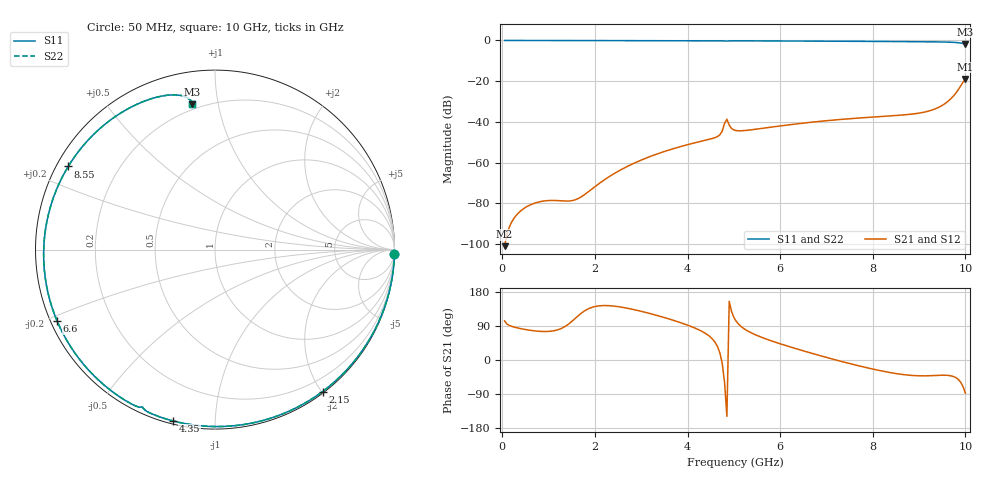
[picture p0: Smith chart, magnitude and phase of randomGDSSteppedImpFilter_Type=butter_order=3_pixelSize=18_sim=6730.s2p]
! freq	dB(S11)	phase(S11)	dB(S12)	phase(S12)
!  dB(S21)	phase(S21)	dB(S22)	phase(S22)
!S-par simulation data
#  GHz  S  DB  R 50
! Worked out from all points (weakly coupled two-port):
!   200 points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, 50 MHz to 10 GHz, reference 50 ohm
!   highest |S21| = -18.87 dB at 10 GHz (marker M1); lowest = -101.0 dB at 50 MHz (marker M2)
!   lowest |S11| = -1.7 dB at 10 GHz (marker M3), VSWR 10.15, Z = 8.45 + j41.9 ohm
!   |S11| at or under -10 dB: nowhere
!   |S22| runs from -1.7 to 0.0 dB; largest |S21 - S12| = 0
!   S11 on the Smith chart (normalised r, x): 50 MHz: 0, -91; 2.15 GHz: 0.02, -2.01; 4.35 GHz: 0.01, -0.78; 6.6 GHz: 0.02, -0.22; 8.55 GHz: 0.03, +0.26; 10 GHz: 0.17, +0.84
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0.05  -0.00 -1.3  -101.03 103.2  -101.03 103.2  -0.00 -1.3
0.75  -0.02 -18.8  -79.53 76.2  -79.53 76.2  -0.02 -18.8
1.45  -0.05 -36.0  -78.84 96.6  -78.84 96.6  -0.05 -36.0
1.75  -0.06 -43.3  -76.12 127.4  -76.12 127.4  -0.06 -43.3
2.15  -0.07 -52.9  -69.30 143.5  -69.30 143.5  -0.07 -52.9
2.7  -0.08 -65.9  -61.86 136.7  -61.86 136.7  -0.08 -65.9
3.4  -0.11 -82.1  -55.30 115.5  -55.30 115.5  -0.11 -82.1
4.35  -0.15 -103.8  -49.19 72.9  -49.19 72.9  -0.15 -103.8
4.7  -0.18 -111.9  -46.30 18.1  -46.30 18.1  -0.18 -111.9
4.75  -0.20 -113.2  -44.50 -9.3  -44.50 -9.3  -0.20 -113.2
4.85  -0.31 -114.7  -38.70 -148.6  -38.70 -148.6  -0.30 -114.7
4.95  -0.20 -117.0  -43.22 128.0  -43.22 128.0  -0.20 -117.0
5.05  -0.19 -119.4  -44.25 102.4  -44.25 102.4  -0.19 -119.4
6.6  -0.31 -155.7  -40.34 20.6  -40.34 20.6  -0.31 -155.7
6.7  -0.31 -158.2  -40.09 17.1  -40.09 17.1  -0.31 -158.2
7.55  -0.41 179.8  -38.35 -10.9  -38.35 -10.9  -0.41 179.8
8.35  -0.51 156.7  -37.09 -32.6  -37.09 -32.6  -0.51 156.7
8.55  -0.54 150.5  -36.77 -36.7  -36.77 -36.7  -0.54 150.4
9.1  -0.63 132.0  -35.27 -41.9  -35.27 -41.9  -0.63 131.9
9.45  -0.73 119.0  -32.52 -40.3  -32.52 -40.3  -0.73 118.9
9.75  -0.92 106.8  -27.07 -44.0  -27.07 -44.0  -0.92 106.7
10  -1.72 99.1  -18.87 -87.6  -18.87 -87.6  -1.70 99.0
